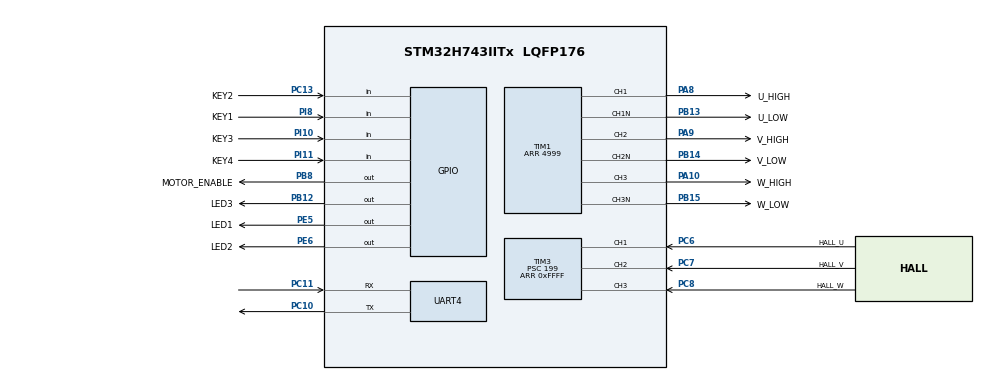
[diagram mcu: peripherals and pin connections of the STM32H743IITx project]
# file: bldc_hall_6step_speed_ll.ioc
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CORTEX_M7.AccessPermission_Spec=MPU_REGION_FULL_ACCESS
CORTEX_M7.BaseAddress_Spec=0x24000000
CORTEX_M7.CPU_DCache=Enabled
CORTEX_M7.CPU_ICache=Enabled
CORTEX_M7.DisableExec_Spec=MPU_INSTRUCTION_ACCESS_ENABLE
CORTEX_M7.IsCacheable_Spec=MPU_ACCESS_CACHEABLE
CORTEX_M7.IsShareable_Spec=MPU_ACCESS_SHAREABLE
CORTEX_M7.MPU_Control=MPU_HFNMI_PRIVDEF
CORTEX_M7.Size_Spec=MPU_REGION_SIZE_512KB
CORTEX_M7.SubRegionDisable_Spec=0x00
CORTEX_M7.default_mode_Activation=1
Dma.Request0=UART4_RX
Dma.UART4_RX.0.Direction=DMA_PERIPH_TO_MEMORY
Dma.UART4_RX.0.EventEnable=DISABLE
Dma.UART4_RX.0.FIFOMode=DMA_FIFOMODE_DISABLE
Dma.UART4_RX.0.Instance=DMA1_Stream0
Dma.UART4_RX.0.MemDataAlignment=DMA_MDATAALIGN_BYTE
Dma.UART4_RX.0.MemInc=DMA_MINC_ENABLE
Dma.UART4_RX.0.Mode=DMA_NORMAL
Dma.UART4_RX.0.PeriphDataAlignment=DMA_PDATAALIGN_BYTE
Dma.UART4_RX.0.PeriphInc=DMA_PINC_DISABLE
Dma.UART4_RX.0.Polarity=HAL_DMAMUX_REQ_GEN_RISING
Dma.UART4_RX.0.Priority=DMA_PRIORITY_LOW
Dma.UART4_RX.0.RequestNumber=1
Dma.UART4_RX.0.SignalID=NONE
Dma.UART4_RX.0.SyncEnable=DISABLE
Dma.UART4_RX.0.SyncPolarity=HAL_DMAMUX_SYNC_NO_EVENT
Dma.UART4_RX.0.SyncRequestNumber=1
Dma.UART4_RX.0.SyncSignalID=NONE
Mcu.Family=STM32H7
Mcu.Name=STM32H743IITx
Mcu.Package=LQFP176
NVIC.DMA1_Stream0_IRQn=true\:0\:0\:false\:false\:true\:false\:true\:true
NVIC.PriorityGroup=NVIC_PRIORITYGROUP_3
NVIC.TIM3_IRQn=true\:0\:0\:false\:false\:true\:true\:true\:true
NVIC.UART4_IRQn=true\:1\:1\:true\:false\:true\:true\:true\:true
PA10.GPIO_Label=W_HIGH
PA10.GPIO_Speed=GPIO_SPEED_FREQ_HIGH
PA10.Signal=S_TIM1_CH3
PA13\ (JTMS/SWDIO).Mode=Serial_Wire
PA13\ (JTMS/SWDIO).Signal=DEBUG_JTMS-SWDIO
PA14\ (JTCK/SWCLK).Mode=Serial_Wire
PA14\ (JTCK/SWCLK).Signal=DEBUG_JTCK-SWCLK
PA8.GPIO_Label=U_HIGH
PA8.GPIO_Speed=GPIO_SPEED_FREQ_HIGH
PA8.Signal=S_TIM1_CH1
PA9.GPIO_Label=V_HIGH
PA9.GPIO_Speed=GPIO_SPEED_FREQ_HIGH
PA9.Signal=S_TIM1_CH2
PB12.GPIO_Label=LED3
PB12.Signal=GPIO_Output
PB13.GPIO_Label=U_LOW
PB13.GPIO_Speed=GPIO_SPEED_FREQ_HIGH
PB13.Mode=PWM Generation1 CH1 CH1N
PB13.Signal=TIM1_CH1N
PB14.GPIO_Label=V_LOW
PB14.GPIO_Speed=GPIO_SPEED_FREQ_HIGH
PB14.Mode=PWM Generation2 CH2 CH2N
PB14.Signal=TIM1_CH2N
PB15.GPIO_Label=W_LOW
PB15.GPIO_Speed=GPIO_SPEED_FREQ_HIGH
PB15.Mode=PWM Generation3 CH3 CH3N
PB15.Signal=TIM1_CH3N
PB8.GPIO_Label=MOTOR_ENABLE
PB8.GPIO_Speed=GPIO_SPEED_FREQ_HIGH
PB8.Signal=GPIO_Output
PC10.Mode=Asynchronous
PC10.Signal=UART4_TX
PC11.Mode=Asynchronous
PC11.Signal=UART4_RX
PC13.GPIO_Label=KEY2
PC13.Signal=GPIO_Input
PC6.GPIO_Label=HALL_U
PC6.Signal=S_TIM3_CH1
PC7.GPIO_Label=HALL_V
PC7.Signal=S_TIM3_CH2
PC8.GPIO_Label=HALL_W
PC8.Signal=S_TIM3_CH3
PE5.GPIO_Label=LED1
PE5.Signal=GPIO_Output
PE6.GPIO_Label=LED2
PE6.Signal=GPIO_Output
PH0-OSC_IN\ (PH0).Mode=HSE-External-Oscillator
PH0-OSC_IN\ (PH0).Signal=RCC_OSC_IN
PH1-OSC_OUT\ (PH1).Mode=HSE-External-Oscillator
PH1-OSC_OUT\ (PH1).Signal=RCC_OSC_OUT
PI10.GPIO_Label=KEY3
PI10.Signal=GPIO_Input
PI11.GPIO_Label=KEY4
PI11.Signal=GPIO_Input
PI8.GPIO_Label=KEY1
PI8.Signal=GPIO_Input
ProjectManager.HeapSize=0x200
ProjectManager.StackSize=0x400
ProjectManager.TargetToolchain=MDK-ARM V5.32
RCC.ADCFreq_Value=25000000
RCC.APB1Freq_Value=100000000
RCC.APB2Freq_Value=100000000
RCC.APB3Freq_Value=100000000
RCC.APB4Freq_Value=100000000
RCC.CortexFreq_Value=400000000
RCC.D1PPRE=RCC_APB3_DIV2
RCC.D2PPRE1=RCC_APB1_DIV2
RCC.D2PPRE2=RCC_APB2_DIV2
RCC.D3PPRE=RCC_APB4_DIV2
RCC.DIVM1=2
RCC.DIVM2=2
RCC.DIVM3=2
RCC.DIVN1=64
RCC.DIVN2=12
RCC.DIVN3=4
RCC.DIVP2=6
RCC.HCLKFreq_Value=200000000
RCC.HPRE=RCC_HCLK_DIV2
RCC.PLL2FRACN=0
RCC.PLL3FRACN=0
RCC.PLLFRACN=0
RCC.PLLSourceVirtual=RCC_PLLSOURCE_HSE
RCC.PWR_Regulator_Voltage_Scale=PWR_REGULATOR_VOLTAGE_SCALE0
RCC.SYSCLKFreq_VALUE=400000000
RCC.SYSCLKSource=RCC_SYSCLKSOURCE_PLLCLK
RCC.USBFreq_Value=400000000
SH.S_TIM1_CH1.0=TIM1_CH1,PWM Generation1 CH1 CH1N
SH.S_TIM1_CH2.0=TIM1_CH2,PWM Generation2 CH2 CH2N
SH.S_TIM1_CH3.0=TIM1_CH3,PWM Generation3 CH3 CH3N
SH.S_TIM3_CH1.0=TIM3_CH1,Xored_Inputs_Hall_Sensor_Interface
SH.S_TIM3_CH2.0=TIM3_CH2,Xored_Inputs_Hall_Sensor_Interface
SH.S_TIM3_CH3.0=TIM3_CH3,Xored_Inputs_Hall_Sensor_Interface
STMicroelectronics.X-CUBE-ALGOBUILD.1.3.0.LibraryCcDSPOoLibraryJjDSPOoLibrary=true
TIM1.BreakState=TIM_BREAK_ENABLE
TIM1.Channel-PWM\ Generation1\ CH1\ CH1N=TIM_CHANNEL_1
TIM1.Channel-PWM\ Generation2\ CH2\ CH2N=TIM_CHANNEL_2
TIM1.Channel-PWM\ Generation3\ CH3\ CH3N=TIM_CHANNEL_3
TIM1.CounterMode=TIM_COUNTERMODE_CENTERALIGNED1
TIM1.DeadTime=0x28
TIM1.OC1Preload_PWM=ENABLE
TIM1.OCFastMode_PWM-PWM\ Generation1\ CH1\ CH1N=TIM_OCFAST_DISABLE
TIM1.OCFastMode_PWM-PWM\ Generation2\ CH2\ CH2N=TIM_OCFAST_DISABLE
TIM1.OCFastMode_PWM-PWM\ Generation3\ CH3\ CH3N=TIM_OCFAST_DISABLE
TIM1.OffStateIDLEMode=TIM_OSSI_ENABLE
TIM1.OffStateRunMode=TIM_OSSR_ENABLE
TIM1.Period=4999
TIM3.AutoReloadPreload=TIM_AUTORELOAD_PRELOAD_ENABLE
TIM3.Commutation_Delay=3
TIM3.CounterMode=TIM_COUNTERMODE_CENTERALIGNED1
TIM3.IC1Filter=0x0E
TIM3.Period=0xFFFF
TIM3.Prescaler=199
VP_STMicroelectronics.X-CUBE-ALGOBUILD_VS_DSPOoLibraryJjLibrary_1.3.0_1.3.0.Mode=DSPOoLibraryJjLibrary
VP_TIM1_VS_ClockSourceINT.Mode=Internal
board=custom

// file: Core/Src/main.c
/* USER CODE BEGIN Header */
/**
  ******************************************************************************
  * @file           : main.c
  * @brief          : Main program body
  ******************************************************************************
  * @attention
  *
  * Copyright (c) 2024 STMicroelectronics.
  * All rights reserved.
  *
  * This software is licensed under terms that can be found in the LICENSE file
  * in the root directory of this software component.
  * If no LICENSE file comes with this software, it is provided AS-IS.
  *
  ******************************************************************************
  */
/* USER CODE END Header */
#include "main.h"
#include "dma.h"
#include "tim.h"
#include "usart.h"
#include "gpio.h"

/* USER CODE BEGIN Includes */
#include "bsp_motor.h"
#include "bsp_hall.h"
#include "protocol_niming_upper.h"
#include "protocol_uart_sei.h"
#include "algorithm_pid.h"
#include "algorithm_filtering.h"
#include "math.h"
#include "debug.h"
/* USER CODE END Includes */

/* USER CODE BEGIN PV */
MotorSta_Typedef global_motorsta;
MotorDir_Typedef global_motordir;
FOLPF_HandleTypeDef global_speed_hz;
PID_LOC_HandleTypedef motor_speed_pid;
float32_t protocol_speed_hz;
uint32_t global_pwm_duty=0;
uint8_t global_state=0x00;
uint8_t uart_rx_buffer[UART_BUFFER_LEN];
uint16_t adc_value[3];
float32_t motor_control_val=0;
/* USER CODE END PV */

void SystemClock_Config(void);
static void MPU_Config(void);

int main(void)
{

  /* MPU Configuration--------------------------------------------------------*/
  MPU_Config();

  /* Enable the CPU Cache */

  /* Enable I-Cache---------------------------------------------------------*/
  SCB_EnableICache();

  /* Enable D-Cache---------------------------------------------------------*/
  SCB_EnableDCache();

  /* MCU Configuration--------------------------------------------------------*/

  /* Reset of all peripherals, Initializes the Flash interface and the Systick. */
  HAL_Init();

  /* Configure the system clock */
  SystemClock_Config();

  /* USER CODE BEGIN SysInit */
  SysTick_Config(SystemCoreClock/1000);

  LL_mDelay(200);

  /* USER CODE END SysInit */

  /* Initialize all configured peripherals */
  MX_GPIO_Init();
  MX_DMA_Init();
  MX_TIM1_Init();
  MX_TIM3_Init();
  MX_UART4_Init();
  /* USER CODE BEGIN 2 */
  HALLSENSOR_TIMxStart(TIM3);
  global_motorsta=MOTOR_STA_DISABLE;
  FLOAT_FirstOrderLowPassFiltering_DataInit(&global_speed_hz,SPEED_HZ_FILTERING_ALPHA);
  PID_LOC_Init(&motor_speed_pid,round(0./60.*PPR),0.75f,0.45f,0.f);

  __HAL_UART_ENABLE_IT(&huart4,UART_IT_IDLE);
  HAL_UART_Receive_DMA(&huart4,(uint8_t *)uart_rx_buffer,UART_BUFFER_LEN);
  /* USER CODE END 2 */

  /* Infinite loop */
  /* USER CODE BEGIN WHILE */
  MOTOR_Start(TIM1,TIM3);
  while (1)
  {
    Protocol_UARTxRXProcess();

    if(GPIO_PIN_RESET==LL_GPIO_IsInputPinSet(KEY1_GPIO_Port,KEY1_Pin)){
      MOTOR_ENABLE();
      global_motorsta=MOTOR_STA_ENABLE;
    }

    if(GPIO_PIN_RESET==LL_GPIO_IsInputPinSet(KEY2_GPIO_Port,KEY2_Pin)){

#if BREAKING_INERTIA
      MOTOR_Breaking_Inertia();
#endif
      /*speed_duty or control_val must be zero when motor enable*/
      /********if not motor will shake while motor runing********/
      motor_control_val=0;
      MOTOR_SpeedControl(TIM1,round(motor_control_val));

      global_speed_hz.current_val = 0;
      global_speed_hz.last_val    = 0;
      motor_speed_pid.control_val = 0;
      motor_speed_pid.err         = 0;
      motor_speed_pid.err_last    = 0;
      motor_speed_pid.integral    = 0;
    }

    if(global_state&0x01){
      global_speed_hz.current_val=HALLSENSOR_SpeedFrequency_Hz();
      FLOAT_FirstOrderLowPassFiltering_Process(&global_speed_hz);
      if(0==global_speed_hz.current_val){
        uint8_t hall_phase=0;
        hall_phase=HALLSENSOR_GetPhase();

#if BREAKING_INERTIA
        /*aim to phase when motor enable*/
        global_pwm_duty=30;
#endif
        MOTOR_SixStepPhaseChange(TIM1,hall_phase);
        LL_TIM_GenerateEvent_COM(TIM1);
      }
      motor_control_val=PID_LOC_Process(&motor_speed_pid,global_speed_hz.current_val);
      MOTOR_SpeedControl(TIM1,fabs(round(motor_control_val)));
      global_state&=~0x01;
    }

    if(global_state&0x02){
      if(MOTOR_STA_DISABLE==global_motorsta){
        global_speed_hz.current_val=HALLSENSOR_SpeedFrequency_Hz();
        FLOAT_FirstOrderLowPassFiltering_Process(&global_speed_hz);
      }
      if(MOTOR_DIR_CCW==global_motordir){
        protocol_speed_hz=-global_speed_hz.current_val;
      } else {
        protocol_speed_hz=global_speed_hz.current_val;
      }
      Protocol_NIMING_Mortor(&huart4,0xF1,protocol_speed_hz,protocol_speed_hz/PPR,(protocol_speed_hz/PPR)*60);
      global_state&=~0x02;
    }
    /* USER CODE END WHILE */

  }
}

void SystemClock_Config(void)
{
  LL_FLASH_SetLatency(LL_FLASH_LATENCY_2);
  while(LL_FLASH_GetLatency()!= LL_FLASH_LATENCY_2)
  {
  }
  LL_PWR_ConfigSupply(LL_PWR_LDO_SUPPLY);
  LL_PWR_SetRegulVoltageScaling(LL_PWR_REGU_VOLTAGE_SCALE0);
  while (LL_PWR_IsActiveFlag_VOS() == 0)
  {
  }
  LL_RCC_HSE_Enable();

   /* Wait till HSE is ready */
  while(LL_RCC_HSE_IsReady() != 1)
  {

  }
  LL_RCC_PLL_SetSource(LL_RCC_PLLSOURCE_HSE);
  LL_RCC_PLL1P_Enable();
  LL_RCC_PLL1R_Enable();
  LL_RCC_PLL1_SetVCOInputRange(LL_RCC_PLLINPUTRANGE_8_16);
  LL_RCC_PLL1_SetVCOOutputRange(LL_RCC_PLLVCORANGE_WIDE);
  LL_RCC_PLL1_SetM(2);
  LL_RCC_PLL1_SetN(64);
  LL_RCC_PLL1_SetP(2);
  LL_RCC_PLL1_SetQ(2);
  LL_RCC_PLL1_SetR(2);
  LL_RCC_PLL1_Enable();

   /* Wait till PLL is ready */
  while(LL_RCC_PLL1_IsReady() != 1)
  {
  }

   /* Intermediate AHB prescaler 2 when target frequency clock is higher than 80 MHz */
   LL_RCC_SetAHBPrescaler(LL_RCC_AHB_DIV_2);

  LL_RCC_SetSysClkSource(LL_RCC_SYS_CLKSOURCE_PLL1);

   /* Wait till System clock is ready */
  while(LL_RCC_GetSysClkSource() != LL_RCC_SYS_CLKSOURCE_STATUS_PLL1)
  {

  }
  LL_RCC_SetSysPrescaler(LL_RCC_SYSCLK_DIV_1);
  LL_RCC_SetAHBPrescaler(LL_RCC_AHB_DIV_2);
  LL_RCC_SetAPB1Prescaler(LL_RCC_APB1_DIV_2);
  LL_RCC_SetAPB2Prescaler(LL_RCC_APB2_DIV_2);
  LL_RCC_SetAPB3Prescaler(LL_RCC_APB3_DIV_2);
  LL_RCC_SetAPB4Prescaler(LL_RCC_APB4_DIV_2);
  LL_SetSystemCoreClock(400000000);

   /* Update the time base */
  if (HAL_InitTick (TICK_INT_PRIORITY) != HAL_OK)
  {
    Error_Handler();
  }
}

 /* MPU Configuration */

void MPU_Config(void)
{

  /* Disables the MPU */
  LL_MPU_Disable();

  /** Initializes and configures the Region and the memory to be protected
  */
  LL_MPU_ConfigRegion(LL_MPU_REGION_NUMBER0, 0x00, 0x24000000, LL_MPU_REGION_SIZE_512KB|LL_MPU_TEX_LEVEL0|LL_MPU_REGION_FULL_ACCESS|LL_MPU_INSTRUCTION_ACCESS_ENABLE|LL_MPU_ACCESS_SHAREABLE|LL_MPU_ACCESS_CACHEABLE|LL_MPU_ACCESS_NOT_BUFFERABLE);
  /* Enables the MPU */
  LL_MPU_Enable(LL_MPU_CTRL_HFNMI_PRIVDEF);

}

void Error_Handler(void)
{
  __disable_irq();
  while (1)
  {
  }
}
